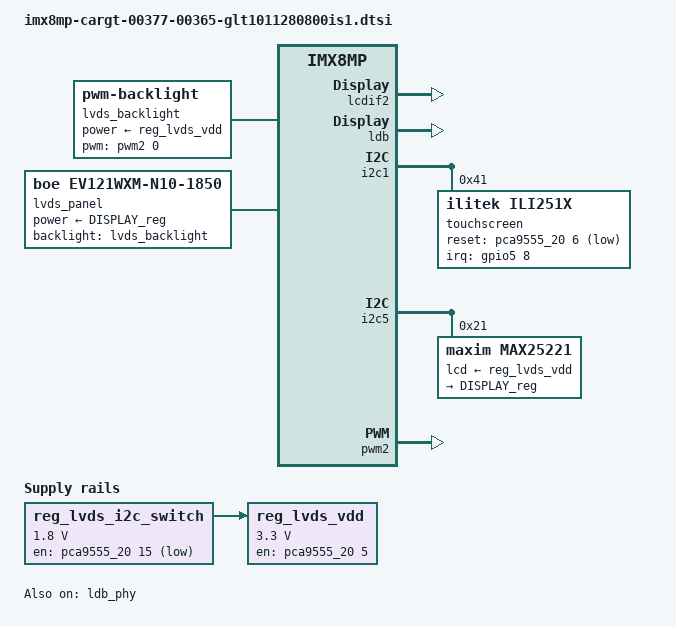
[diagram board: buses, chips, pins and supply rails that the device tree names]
/ {

	reg_lvds_i2c_switch: regulator-lvds-i2c-switch {
		compatible = "regulator-fixed";
		regulator-name = "lvds_i2c_sw";
		regulator-min-microvolt = <1800000>;
		regulator-max-microvolt = <1800000>;
		gpio = <&pca9555_20 15 GPIO_ACTIVE_LOW>;
		enable-active-low;
		regulator-always-on;
		status = "okay";
	};

	reg_lvds_vdd: regulator-lvds-vdd {
		compatible = "regulator-fixed";
		regulator-name = "lvds_vdd";
		regulator-min-microvolt = <3300000>;
		regulator-max-microvolt = <3300000>;
		gpio = <&pca9555_20 5 GPIO_ACTIVE_HIGH>;
		enable-active-high;
		regulator-always-on;
		vin-supply = <&reg_lvds_i2c_switch>;
		status = "okay";
	};

	lvds_backlight: lvds_backlight {
		compatible = "pwm-backlight";
		pwms = <&pwm2 0 5000000 0>;
		brightness-levels = <0 100>;
		num-interpolated-steps = <100>;
		default-brightness-level = <80>;
		power-supply = <&reg_lvds_vdd>;
		status = "okay";
	};

    lvds_panel {
		compatible = "boe,ev121wxm-n10-1850";
		backlight = <&lvds_backlight>;		
		power-supply = <&DISPLAY_reg>;

		port {
			panel_lvds_in: endpoint {
			};
		};
	};
};

&lcdif2 {
	assigned-clocks = <&clk IMX8MP_CLK_MEDIA_DISP2_PIX>,
				  <&clk IMX8MP_CLK_MEDIA_AXI>,
				  <&clk IMX8MP_CLK_MEDIA_APB>;
	assigned-clock-parents = <&clk IMX8MP_VIDEO_PLL1_OUT>,
					  <&clk IMX8MP_SYS_PLL2_1000M>,
					  <&clk IMX8MP_SYS_PLL1_800M>;
	assigned-clock-rates = <74250000>, <500000000>, <200000000>;
	status = "okay";
};

&ldb {
	status = "okay";
	vcc-supply = <&reg_lvds_vdd>;

	lvds-channel@0 {
		data-mapping = "jeida-24";
		status = "okay";

		/delete-node/ port@1;

		port@1 {
			reg = <1>;

			lvds_out: endpoint {
				remote-endpoint = <&panel_lvds_in>;
			};
		};
	};
};

&ldb_phy {
	status = "okay";
};


&i2c1 {
	touchscreen@41 {
		compatible = "ilitek,ili251x";
		reg = <0x41>;
		pinctrl-names = "default";
		pinctrl-0 = <&pinctrl_cap_touch>;
		interrupt-parent = <&gpio5>;
		interrupts = <8 IRQ_TYPE_EDGE_FALLING>;
		reset-gpios = <&pca9555_20 6 GPIO_ACTIVE_LOW>;
		status = "okay";
	};
};

&i2c5 {
	max25221: max25221@21 {
		compatible = "maxim,max25221";
		reg = <0x21>;
		lcd-supply = <&reg_lvds_vdd>;
		status = "okay";

		regulators {
			DISPLAY_reg: DISPLAY {
                regulator-name = "DISPLAY";
			};
		};
	};
};

&pwm2 {
	pinctrl-names = "default";
	pinctrl-0 = <&pinctrl_pwm2>;
	status = "okay";
};

&iomuxc {

	pinctrl_pwm2: pwm2grp {
		fsl,pins = <
			MX8MP_IOMUXC_SAI5_RXD0__PWM2_OUT		0x116
		>;
	};

	pinctrl_cap_touch: cap_touch {
		fsl,pins = <
			MX8MP_IOMUXC_ECSPI1_MISO__GPIO5_IO08		0x31e	/* nINT */
		>;
	};

};

